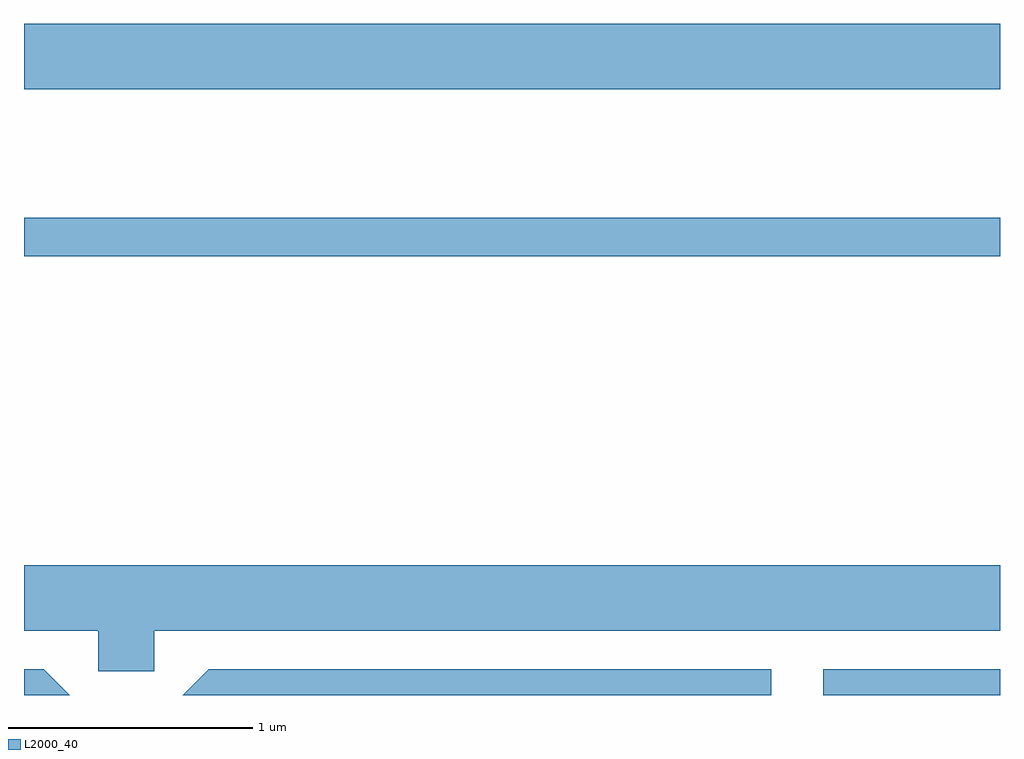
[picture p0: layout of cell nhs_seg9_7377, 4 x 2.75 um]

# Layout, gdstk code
import gdstk
lib = gdstk.Library(unit=1e-6, precision=1e-09)
def R(c, l, rs):  # rectangles x0, y0, x1, y1
    for r in rs: c.add(gdstk.rectangle(r[:2], r[2:], *l))
def P(c, l, *ps):  # polygons
    for p in ps: c.add(gdstk.Polygon(p, *l))
L2000_40 = (2000, 40)

nhs_seg9_7377 = lib.new_cell('nhs_seg9_7377')
R(nhs_seg9_7377, L2000_40, [(406.886,2000.432,407.611,2000.539), (403.611,2002.231,407.611,2002.389), (403.611,2002.916,407.611,2003.184)])
P(nhs_seg9_7377, L2000_40, [(404.144,2000.696),(407.611,2000.696),(407.611,2000.964),(403.611,2000.964),(403.611,2000.696),(403.916,2000.696),(403.916,2000.531),(404.144,2000.531)],
  [(406.674,2000.539),(404.369,2000.539),(404.262,2000.432),(406.674,2000.432)],
  [(403.692,2000.539),(403.611,2000.539),(403.611,2000.432),(403.799,2000.432)])

lib.write_gds('nhs_seg9_7377.gds')
